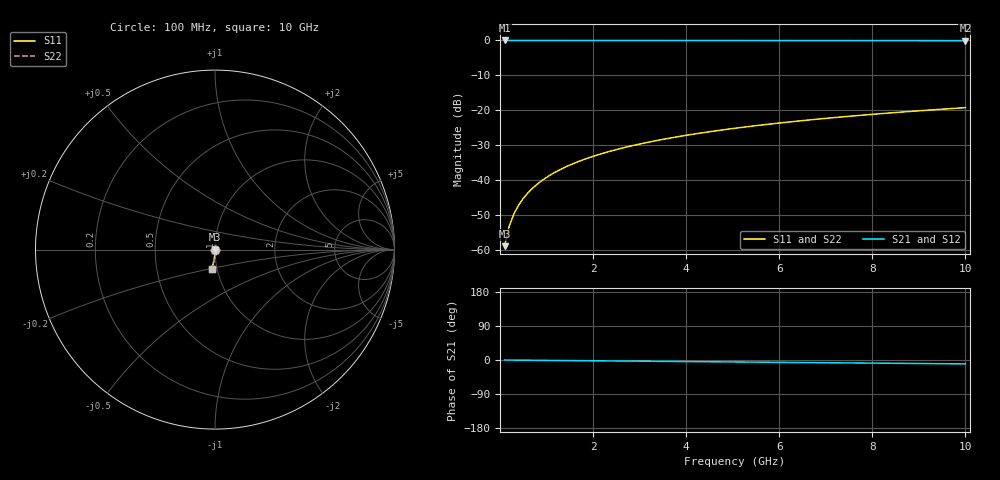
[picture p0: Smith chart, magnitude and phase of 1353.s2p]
# Hz S RI R 50.00
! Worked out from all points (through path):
!   100 points, 100 MHz to 10 GHz, reference 50 ohm
!   highest |S21| = 0.00 dB at 100 MHz (marker M1); lowest = -0.1 dB at 10 GHz (marker M2)
!   group delay of S21, straight-line fit = 2.84 ps
!   lowest |S11| = -58.9 dB at 100 MHz (marker M3), VSWR 1.00, Z = 50 - j0.11 ohm
!   |S11| at or under -10 dB: start of sweep to end of sweep
!   |S22| runs from -58.9 to -19.2 dB; largest |S21 - S12| = 0
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1e8  0.000306 -0.0011  0.9997 -0.00179  0.9997 -0.00179  0.000306 -0.0011
2e8  0.000301 -0.0022  0.9997 -0.00357  0.9997 -0.00357  0.000301 -0.0022
3e8  0.000291 -0.0033  0.9997 -0.00536  0.9997 -0.00536  0.000291 -0.0033
4e8  0.000277 -0.0044  0.9996 -0.00714  0.9996 -0.00714  0.000277 -0.0044
5e8  0.000259 -0.00549  0.9996 -0.00893  0.9996 -0.00893  0.000259 -0.00549
6e8  0.000237 -0.00659  0.9996 -0.0107  0.9996 -0.0107  0.000237 -0.00659
7e8  0.000211 -0.00769  0.9996 -0.0125  0.9996 -0.0125  0.000211 -0.00769
8e8  0.000181 -0.00879  0.9995 -0.0143  0.9995 -0.0143  0.000181 -0.00879
9e8  0.000147 -0.00989  0.9995 -0.0161  0.9995 -0.0161  0.000147 -0.00989
1.1e9  6.74e-05 -0.0121  0.9994 -0.0196  0.9994 -0.0196  6.74e-05 -0.0121
1.4e9  -8.21e-05 -0.0154  0.9992 -0.025  0.9992 -0.025  -8.21e-05 -0.0154
1.8e9  -0.000337 -0.0198  0.9989 -0.0321  0.9989 -0.0321  -0.000337 -0.0198
2.1e9  -0.000569 -0.0231  0.9987 -0.0375  0.9987 -0.0375  -0.000569 -0.0231
2.5e9  -0.000933 -0.0274  0.9983 -0.0446  0.9983 -0.0446  -0.000933 -0.0274
2.9e9  -0.00136 -0.0318  0.9978 -0.0517  0.9978 -0.0517  -0.00136 -0.0318
3.4e9  -0.00198 -0.0373  0.9971 -0.0607  0.9971 -0.0607  -0.00198 -0.0373
4.2e9  -0.00318 -0.046  0.9957 -0.0749  0.9957 -0.0749  -0.00318 -0.046
5.1e9  -0.00483 -0.0558  0.9939 -0.0908  0.9939 -0.0908  -0.00483 -0.0558
5.9e9  -0.00656 -0.0644  0.9919 -0.105  0.9919 -0.105  -0.00656 -0.0644
6.7e9  -0.00853 -0.073  0.9897 -0.1191  0.9897 -0.1191  -0.00853 -0.073
8.4e9  -0.0135 -0.091  0.9841 -0.1489  0.9841 -0.1489  -0.0135 -0.091
1e10  -0.0192 -0.1077  0.9777 -0.1766  0.9777 -0.1766  -0.0192 -0.1077
